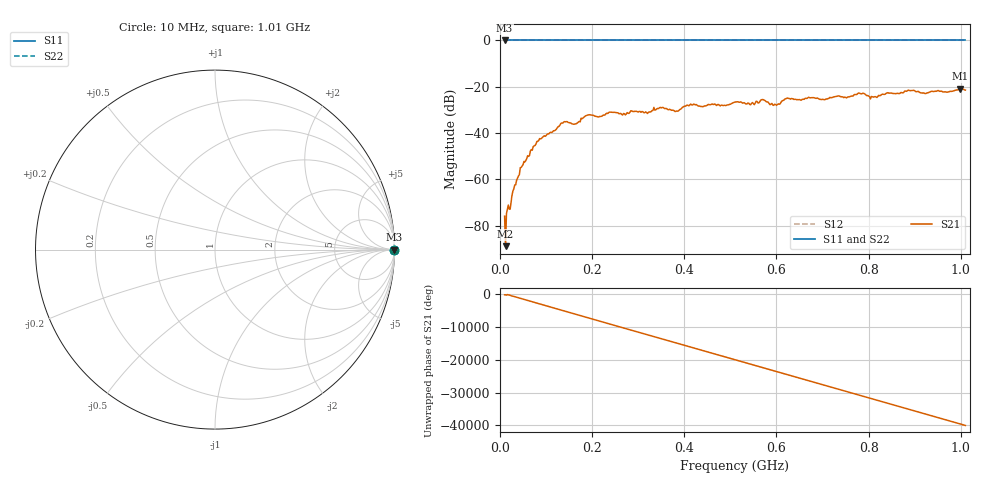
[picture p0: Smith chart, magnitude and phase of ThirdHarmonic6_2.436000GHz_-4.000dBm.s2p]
! 8/17/2025 4:15:07 AM
! C:\ANRITSUVNA\TEMP\TEMP.S2P
! CHANNEL.1
! TR.MEASUREMENT
! RAW.DATA
! RF.CORRECTION.OFF
! AVERAGING.OFF
! IF.BANDWIDTH: 5KHZ
! SWEEPTYPE:  FREQ.SWEEP(Linear)
! Reference Plane Port Info
! PORT:  PORT1  PORT2
! DISTANCE:  0  m  0  m
! TIME:  0  s  0  s
! PHASE.OFFSET:  0  deg.  0  deg.
! LOSS:  0  dB  0  dB
! REF.LOSS:  0  dB  0  dB
! REF.FREQ:  0  Hz  0  Hz
! Power Info
! POWER:  -20  dBm  -20  dBm
! EFF.POWER:  -20  dBm  -20  dBm
! SOURCE.ATTEN:  0  dB  0  dB
! TEST.ATTEN:  0  dB  0  dB
# GHZ S RI R 50.0
! FREQ.GHZ  S11RE  S11IM  S21RE  S21IM  S12RE  S12IM  S22RE  S22IM
!; PortSelection: Port_12
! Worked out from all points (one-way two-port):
!   501 points, 10 MHz to 1.01 GHz, reference 50 ohm
!   highest |S21| = -20.81 dB at 998 MHz (marker M1); lowest = -88.8 dB at 12 MHz (marker M2)
!   lowest |S11| = 0.0 dB at 10 MHz (marker M3)
!   |S11| at or under -10 dB: nowhere
!   |S22| runs from 0.0 to 0.0 dB; largest |S21 - S12| = 1.1
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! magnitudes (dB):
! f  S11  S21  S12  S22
! 10 MHz  0.0  -75.9  0.0  0.0
! 12 MHz  0.0  -88.8  0.0  0.0
! 48 MHz  0.0  -54.2  0.0  0.0
! 82 MHz  0.0  -43.6  0.0  0.0
! 136 MHz  0.0  -35.7  0.0  0.0
! 162 MHz  0.0  -36.1  0.0  0.0
! 178 MHz  0.0  -33.8  0.0  0.0
! 192 MHz  0.0  -32.2  0.0  0.0
! 344 MHz  0.0  -29.4  0.0  0.0
! 384 MHz  0.0  -30.5  0.0  0.0
! 416 MHz  0.0  -27.8  0.0  0.0
! 510 MHz  0.0  -26.6  0.0  0.0
! 548 MHz  0.0  -26.8  0.0  0.0
! 570 MHz  0.0  -25.5  0.0  0.0
! 596 MHz  0.0  -27.5  0.0  0.0
! 622 MHz  0.0  -25.0  0.0  0.0
! 678 MHz  0.0  -24.7  0.0  0.0
! 780 MHz  0.0  -22.7  0.0  0.0
! 808 MHz  0.0  -24.3  0.0  0.0
! 844 MHz  0.0  -22.7  0.0  0.0
! 998 MHz  0.0  -20.8  0.0  0.0
! 1.01 GHz  0.0  -21.4  0.0  0.0
